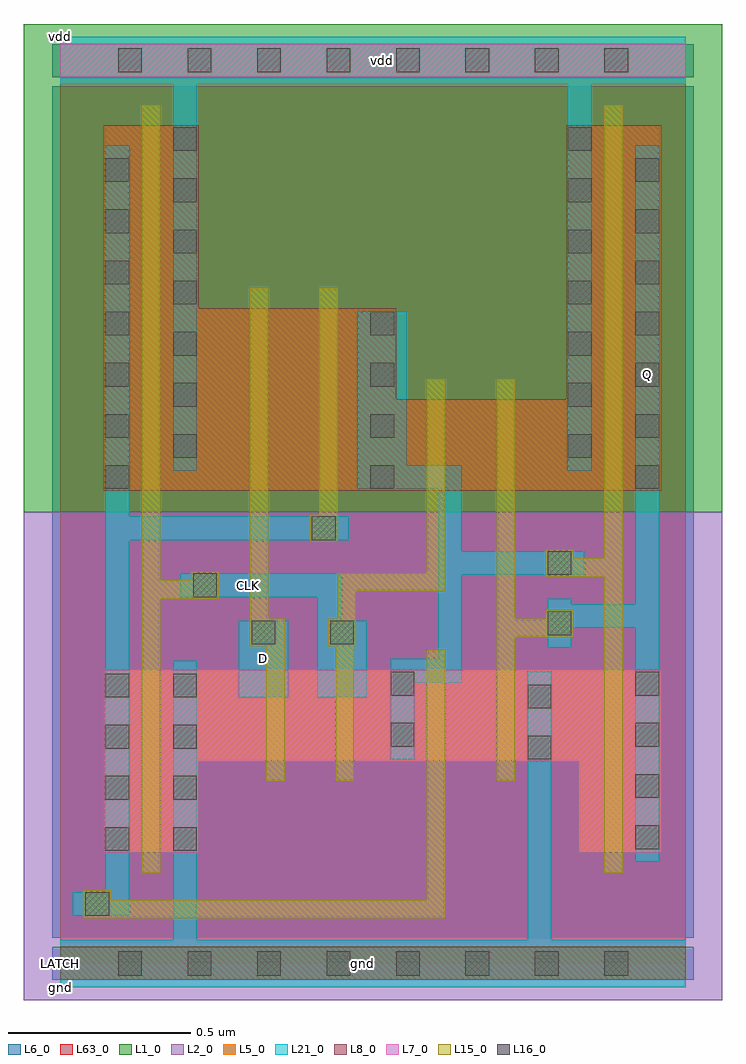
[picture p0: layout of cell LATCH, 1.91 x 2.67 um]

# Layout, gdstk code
import gdstk
lib = gdstk.Library(unit=1e-6, precision=1e-09)
def R(c, l, rs):  # rectangles x0, y0, x1, y1
    for r in rs: c.add(gdstk.rectangle(r[:2], r[2:], *l))
def A(c, l, x, y, w, h, nx, ny, dx, dy):  # array of equal rectangles
    R(c, l, [(x+i*dx, y+j*dy, x+i*dx+w, y+j*dy+h) for i in range(nx) for j in range(ny)])
def P(c, l, *ps):  # polygons
    for p in ps: c.add(gdstk.Polygon(p, *l))
L1_0 = (1, 0)
L2_0 = (2, 0)
L5_0 = (5, 0)
L6_0 = (6, 0)
L7_0 = (7, 0)
L8_0 = (8, 0)
L15_0 = (15, 0)
L16_0 = (16, 0)
L21_0 = (21, 0)
L63_0 = (63, 0)

latch = lib.new_cell('LATCH')
R(latch, L1_0, [(-0.1,1.235,1.81,2.57)])
R(latch, L2_0, [(-0.1,-0.1,1.81,1.235)])
R(latch, L5_0, [(0,-0.045,1.71,0.045), (0.118,0.303,0.223,0.803), (0.223,0.303,0.273,0.803), (1.488,0.303,1.538,0.803), (1.538,0.303,1.643,0.803), (0.563,0.553,0.613,0.803), (0.613,0.553,0.753,0.803), (0.753,0.553,0.803,0.803), (0.803,0.553,1.002,0.803), (1.002,0.553,1.053,0.803), (1.053,0.553,1.193,0.803), (1.193,0.553,1.243,0.803), (0.118,1.293,0.223,2.293), (0.223,1.293,0.273,2.293), (0.518,1.293,0.568,1.793), (0.568,1.293,0.708,1.793), (0.708,1.293,0.758,1.793), (1.002,1.293,1.053,1.543), (1.053,1.293,1.193,1.543), (1.193,1.293,1.243,1.543), (1.488,1.293,1.538,2.293), (1.538,1.293,1.643,2.293), (0,2.425,1.71,2.515)])
P(latch, L5_0, [(0.563,0.803),(0.563,0.553),(0.378,0.553),(0.378,0.303),(0.273,0.303),(0.273,0.803)],
  [(1.488,0.803),(1.488,0.303),(1.418,0.303),(1.418,0.553),(1.243,0.553),(1.243,0.803)],
  [(0.378,1.793),(0.518,1.793),(0.518,1.293),(0.273,1.293),(0.273,2.293),(0.378,2.293)],
  [(0.918,1.793),(0.918,1.543),(1.002,1.543),(1.002,1.293),(0.758,1.293),(0.758,1.793)],
  [(1.383,1.543),(1.383,2.293),(1.488,2.293),(1.488,1.293),(1.243,1.293),(1.243,1.543)])
R(latch, L6_0, [(-0.023,-0.045,1.733,0.045), (-0.023,-0.045,1.733,0.045), (-0.023,0.07,1.733,1.235), (-0.023,1.235,1.733,2.4), (-0.023,2.425,1.733,2.515), (-0.023,2.425,1.733,2.515)])
R(latch, L7_0, [(0.118,0.303,0.223,0.803), (0.223,0.303,0.273,0.803), (1.488,0.303,1.538,0.803), (1.538,0.303,1.643,0.803), (0.563,0.553,0.613,0.803), (0.613,0.553,0.753,0.803), (0.753,0.553,0.803,0.803), (0.803,0.553,1.002,0.803), (1.002,0.553,1.053,0.803), (1.053,0.553,1.193,0.803), (1.193,0.553,1.243,0.803), (0,2.425,1.71,2.515)])
P(latch, L7_0, [(0.563,0.803),(0.563,0.553),(0.378,0.553),(0.378,0.303),(0.273,0.303),(0.273,0.803)],
  [(1.488,0.803),(1.488,0.303),(1.418,0.303),(1.418,0.553),(1.243,0.553),(1.243,0.803)])
R(latch, L8_0, [(0,-0.045,1.71,0.045), (0.118,1.293,0.223,2.293), (0.223,1.293,0.273,2.293), (0.518,1.293,0.568,1.793), (0.568,1.293,0.708,1.793), (0.708,1.293,0.758,1.793), (1.002,1.293,1.053,1.543), (1.053,1.293,1.193,1.543), (1.193,1.293,1.243,1.543), (1.488,1.293,1.538,2.293), (1.538,1.293,1.643,2.293)])
P(latch, L8_0, [(0.378,1.793),(0.518,1.793),(0.518,1.293),(0.273,1.293),(0.273,2.293),(0.378,2.293)],
  [(0.918,1.793),(0.918,1.543),(1.002,1.543),(1.002,1.293),(0.758,1.293),(0.758,1.793)],
  [(1.383,1.543),(1.383,2.293),(1.488,2.293),(1.488,1.293),(1.243,1.293),(1.243,1.543)])
R(latch, L15_0, [(0.223,0.248,0.273,0.303), (1.488,0.248,1.538,0.303), (0.223,0.303,0.273,0.803), (1.488,0.303,1.538,0.803), (0.563,0.498,0.613,0.553), (0.753,0.498,0.803,0.553), (1.193,0.498,1.243,0.553), (0.563,0.553,0.613,0.803), (0.753,0.553,0.803,0.803), (1.002,0.553,1.053,0.803), (1.193,0.553,1.243,0.803), (1.002,0.803,1.053,0.858), (0.223,1.293,0.273,2.293), (0.518,1.293,0.568,1.793), (0.708,1.293,0.758,1.793), (1.002,1.293,1.053,1.543), (1.193,1.293,1.243,1.543), (1.488,1.293,1.538,2.293), (1.002,1.543,1.053,1.598), (1.193,1.543,1.243,1.598), (0.518,1.793,0.568,1.848), (0.708,1.793,0.758,1.848), (0.223,2.293,0.273,2.348), (1.488,2.293,1.538,2.348)])
P(latch, L15_0, [(0.223,1.293),(0.273,1.293),(0.273,1.048),(0.358,1.048),(0.358,1.073),(0.433,1.073),(0.433,0.998),(0.273,0.998),(0.273,0.803),(0.223,0.803)],
  [(0.563,0.868),(0.518,0.868),(0.518,1.293),(0.568,1.293),(0.568,0.943),(0.613,0.943),(0.613,0.803),(0.563,0.803)],
  [(0.753,0.868),(0.733,0.868),(0.733,0.943),(0.758,0.943),(0.758,1.068),(1.002,1.068),(1.002,1.293),(1.053,1.293),(1.053,1.018),(0.808,1.018),(0.808,0.868),(0.803,0.868),(0.803,0.803),(0.753,0.803)],
  [(0.708,1.228),(0.708,1.293),(0.758,1.293),(0.758,1.153),(0.683,1.153),(0.683,1.228)],
  [(1.002,0.173),(1.002,0.553),(1.053,0.553),(1.053,0.123),(0.063,0.123),(0.063,0.2),(0.138,0.2),(0.138,0.173)],
  [(1.193,1.293),(1.243,1.293),(1.243,0.943),(1.328,0.943),(1.328,0.968),(1.403,0.968),(1.403,0.893),(1.243,0.893),(1.243,0.803),(1.193,0.803)],
  [(1.488,1.058),(1.328,1.058),(1.328,1.133),(1.403,1.133),(1.403,1.108),(1.488,1.108),(1.488,1.293),(1.538,1.293),(1.538,0.803),(1.488,0.803)])
A(latch, L16_0, 0.158, -0.033, 0.065, 0.066, 8, 1, 0.19, 0)
A(latch, L16_0, 0.123, 0.308, 0.065, 0.065, 1, 4, 0, 0.14)
A(latch, L16_0, 0.308, 0.308, 0.065, 0.065, 1, 4, 0, 0.14)
A(latch, L16_0, 1.573, 0.313, 0.065, 0.065, 1, 4, 0, 0.14)
A(latch, L16_0, 0.123, 1.298, 0.065, 0.065, 3, 4, 0.725, 0.14)
A(latch, L16_0, 0.308, 1.383, 0.065, 0.065, 1, 4, 0, 0.14)
A(latch, L16_0, 1.388, 1.383, 0.065, 0.065, 1, 4, 0, 0.14)
A(latch, L16_0, 0.123, 1.858, 0.065, 0.065, 1, 3, 0, 0.14)
A(latch, L16_0, 1.573, 1.858, 0.065, 0.065, 1, 3, 0, 0.14)
A(latch, L16_0, 0.158, 2.438, 0.065, 0.065, 8, 1, 0.19, 0)
R(latch, L16_0, [(0.068,0.13,0.133,0.195), (1.278,0.558,1.343,0.623), (0.903,0.593,0.968,0.658), (1.278,0.698,1.343,0.763), (0.903,0.733,0.968,0.798), (0.523,0.873,0.588,0.938), (0.738,0.873,0.803,0.938), (1.333,0.898,1.398,0.963), (0.363,1.002,0.428,1.068), (1.333,1.063,1.398,1.128), (0.688,1.158,0.753,1.223), (0.308,1.943,0.373,2.007), (1.388,1.943,1.453,2.007), (0.308,2.083,0.373,2.148), (1.388,2.083,1.453,2.148), (0.308,2.223,0.373,2.288), (1.388,2.223,1.453,2.288)])
R(latch, L21_0, [(0.488,0.728,0.623,0.938)])
P(latch, L21_0, [(0,2.405),(0,2.535),(1.71,2.535),(1.71,2.405),(1.453,2.405),(1.453,1.348),(1.388,1.348),(1.388,2.405),(0.373,2.405),(0.373,1.348),(0.308,1.348),(0.308,2.405)],
  [(0,-0.065),(0,0.065),(0.308,0.065),(0.308,0.828),(0.373,0.828),(0.373,0.065),(1.278,0.065),(1.278,0.798),(1.343,0.798),(1.343,0.065),(1.71,0.065),(1.71,-0.065)],
  [(0.123,0.195),(0.123,2.238),(0.188,2.238),(0.188,1.223),(0.788,1.223),(0.788,1.158),(0.188,1.158),(0.188,0.13),(0.033,0.13),(0.033,0.195)],
  [(0.768,1.068),(0.768,0.938),(0.838,0.938),(0.838,0.728),(0.703,0.728),(0.703,1.002),(0.328,1.002),(0.328,1.068)],
  [(1.098,0.768),(0.968,0.768),(0.968,0.558),(0.903,0.558),(0.903,0.833),(1.033,0.833),(1.033,1.298),(0.813,1.298),(0.813,1.783),(0.948,1.783),(0.948,1.363),(1.098,1.363),(1.098,1.128),(1.433,1.128),(1.433,1.063),(1.098,1.063)],
  [(1.398,0.983),(1.573,0.983),(1.573,2.238),(1.638,2.238),(1.638,0.278),(1.573,0.278),(1.573,0.918),(1.398,0.918),(1.398,0.863),(1.333,0.863),(1.333,0.998),(1.398,0.998)])
R(latch, L63_0, [(0,0,1.71,2.47)])
latch.add(gdstk.Label('vdd', (0.88,2.47), layer=21, texttype=1))
latch.add(gdstk.Label('gnd', (0.825,0), layer=21, texttype=1))
latch.add(gdstk.Label('CLK', (0.515,1.035), layer=21, texttype=1))
latch.add(gdstk.Label('D', (0.555,0.833), layer=21, texttype=1))
latch.add(gdstk.Label('Q', (1.605,1.61), layer=21, texttype=1))
latch.add(gdstk.Label('vdd', (0,2.535), layer=21, texttype=2))
latch.add(gdstk.Label('gnd', (0,-0.065), layer=21, texttype=2))
latch.add(gdstk.Label('LATCH', (0,0), layer=63, texttype=1))

lib.write_gds('LATCH.gds')
